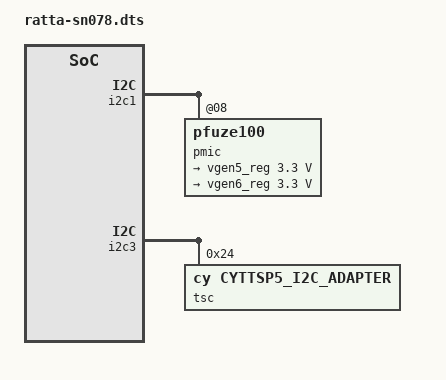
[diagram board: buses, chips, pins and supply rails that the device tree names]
/*
 * Copyright (C) 2019 Ratta , Inc.
 *
 * This program is free software; you can redistribute it and/or modify
 * it under the terms of the GNU General Public License version 2 as
 * published by the Free Software Foundation.
 */

#include "ratta-sn100.dts"

&i2c1 {
	pmic: pfuze100@08 {
			regulators {
			vgen5_reg: vgen5 {
				//regulator-min-microvolt = <1800000>;
				regulator-min-microvolt = <3300000>;
				regulator-max-microvolt = <3300000>;
				regulator-always-on;
				};

			vgen6_reg: vgen6 {
				//regulator-min-microvolt = <1800000>;
				regulator-min-microvolt = <3300000>;
				regulator-max-microvolt = <3300000>;
				regulator-always-on;
				};
			};
	      };
};

&i2c3 {
	cap_touch_atmel {
		reg = <0x4b>;
		atmel,cfg_name="maxtouch_sn078.cfg";
	};

	tsc@24 {
		compatible = "cy,cyttsp5_i2c_adapter";
		reg = <0x24>;
		cy,adapter_id = "cyttsp5_i2c_adapter";

		pinctrl-names = "default","sleep"; 
		pinctrl-0 = <&pinctrl_ts>;
		pinctrl-1 = <&pinctrl_ts_sleep>;
		cy,core {
			cy,name = "cyttsp5_core";

			cy,irq_gpio = <114>;
			cy,rst_gpio = <115>;
			cy,pwr_en_gpio = <121>;
			cy,hid_desc_register = <1>;
			/*CY_CORE_FLAG_RESTORE_PARAMETERS */
			cy,flags = <4>;    //  if    flag| 0x02 == true  // sleep  will poweroff 
			/* CY_CORE_EWG_NONE */
			cy,easy_wakeup_gesture = <0>;
			cy,btn_keys = <172 /* KEY_HOMEPAGE */
					   /* previously was KEY_HOME, new Android versions use KEY_HOMEPAGE */
				       139 /* KEY_MENU */
				       158 /* KEY_BACK */
				       217 /* KEY_SEARCH */
				       114 /* KEY_VOLUMEDOWN */
				       115 /* KEY_VOLUMEUP */
				       212 /* KEY_CAMERA */
				       116>; /* KEY_POWER */
			cy,btn_keys-tag = <0>;

			cy,mt {
				cy,name = "cyttsp5_mt";

				cy,inp_dev_name = "cyttsp5_mt";
				/* CY_MT_FLAG_FLIP | CY_MT_FLAG_INV_X | CY_MT_FLAG_INV_Y */
				cy,flags = <0xF8>;  
				cy,abs =
					/* ABS_MT_POSITION_X, CY_ABS_MIN_X, CY_ABS_MAX_X, 0, 0 */
					<0x35 0 880 0 0
					/* ABS_MT_POSITION_Y, CY_ABS_MIN_Y, CY_ABS_MAX_Y, 0, 0 */
					0x36 0 1280 0 0
					/* ABS_MT_PRESSURE, CY_ABS_MIN_P, CY_ABS_MAX_P, 0, 0 */
					0x3a 0 255 0 0
					/* CY_IGNORE_VALUE, CY_ABS_MIN_W, CY_ABS_MAX_W, 0, 0 */
					0xffff 0 255 0 0
					/* ABS_MT_TRACKING_ID, CY_ABS_MIN_T, CY_ABS_MAX_T, 0, 0 */
					0x39 0 15 0 0
					/* ABS_MT_TOUCH_MAJOR, 0, 255, 0, 0 */
					0x30 0 255 0 0
					/* ABS_MT_TOUCH_MINOR, 0, 255, 0, 0 */
					0x31 0 255 0 0
					/* ABS_MT_ORIENTATION, -127, 127, 0, 0 */
					0x34 0xffffff81 127 0 0
					/* ABS_MT_TOOL_TYPE, 0, MT_TOOL_MAX, 0, 0 */
					0x37 0 1 0 0
					/* ABS_MT_DISTANCE, 0, 255, 0, 0 */
					0x3b 0 255 0 0>;

				cy,vkeys_x = <1349>;
				cy,vkeys_y = <1872>;

				cy,virtual_keys = /* KeyCode CenterX CenterY Width Height */
					/* KEY_BACK */
					<158 1360 90 160 180
					/* KEY_MENU */
					139 1360 270 160 180
					/* KEY_HOMEPAGE */
					172 1360 450 160 180
					/* KEY SEARCH */
					217 1360 630 160 180>;
			};			
		};
	};	

};

&iomuxc {
	imx6sl-evk {
		
		pinctrl_ts: ts_grp-0 {
			fsl,pins = <
				MX6SL_PAD_FEC_RX_ER__GPIO4_IO19  		0x110b0
				MX6SL_PAD_FEC_RXD1__GPIO4_IO18  		0x110b0	
				MX6SL_PAD_FEC_CRS_DV__GPIO4_IO25 		0x110b0	
			>;
		};

		pinctrl_ts_sleep: ts_grp-1 {
			fsl,pins = <
				MX6SL_PAD_FEC_RX_ER__GPIO4_IO19 		0x400840
				MX6SL_PAD_FEC_RXD1__GPIO4_IO18			0x400840 
			>;
		};

		pinctrl_uart1: uart1grp {
		       fsl,pins = <
			       MX6SL_PAD_UART1_RXD__UART1_RX_DATA		0x4110B0
			       MX6SL_PAD_UART1_TXD__UART1_TX_DATA		0x4110B0
		       >;
       		};
       };
};

&hardware {
	id = "sn078";
};
